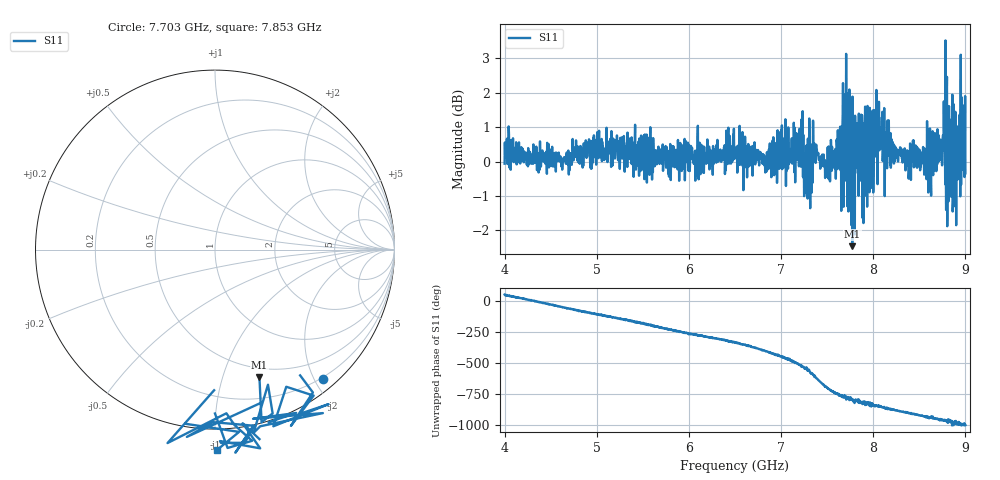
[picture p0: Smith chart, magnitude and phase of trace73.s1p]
! Created with skrf 1.8.0 (http://scikit-rf.org).
# Hz S RI R 50.0
!freq ReS11 ImS11
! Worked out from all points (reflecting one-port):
!   1601 points, 4 GHz to 9 GHz, reference 50 ohm
!   lowest |S11| = -2.5 dB at 7.772 GHz (marker M1), VSWR 7.11, Z = 20.1 - j66.4 ohm
!   phase of S11 starts at 53 deg and turns -1056 deg over the sweep
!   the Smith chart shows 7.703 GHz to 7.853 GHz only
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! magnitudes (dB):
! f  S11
! 4 GHz  -0.1
! 4.625 GHz  -0.2
! 5.25 GHz  -0.2
! 5.875 GHz  -0.1
! 6.5 GHz  0.2
! 6.838 GHz  0.1
! 7.125 GHz  0.2
! 7.209 GHz  0.7
! 7.262 GHz  0.1
! 7.372 GHz  0.3
! 7.509 GHz  -0.1
! 7.691 GHz  1.6
! 7.75 GHz  -0.3
! 7.772 GHz  -2.5
! 7.8 GHz  -2.1
! 7.891 GHz  0.1
! 7.909 GHz  0.9
! 7.928 GHz  0.4
! 7.981 GHz  -0.8
! 8.075 GHz  1.0
! 8.375 GHz  -0.1
! 8.622 GHz  -0.3
! 8.725 GHz  0.4
! 8.775 GHz  0.5
! 8.841 GHz  0.2
! 8.919 GHz  -0.4
! 8.972 GHz  0.8
! 9 GHz  -0.3
